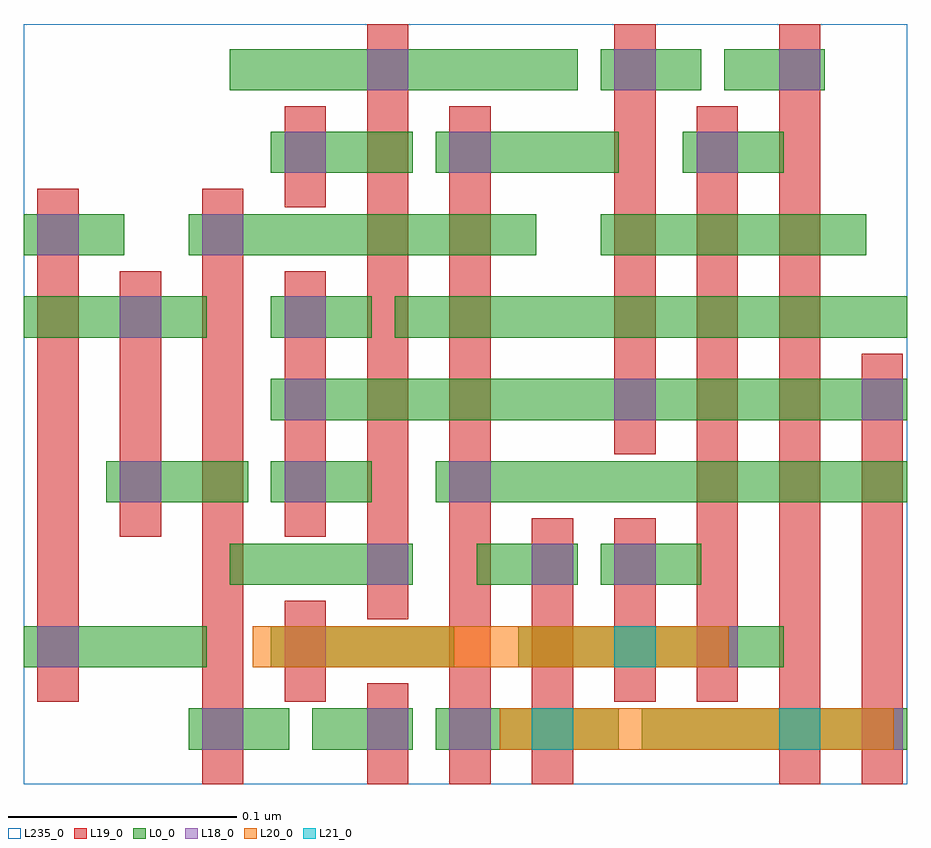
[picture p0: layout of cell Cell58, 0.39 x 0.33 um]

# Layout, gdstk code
import gdstk
lib = gdstk.Library(unit=1e-6, precision=2.5e-10)
def R(c, l, rs):  # rectangles x0, y0, x1, y1
    for r in rs: c.add(gdstk.rectangle(r[:2], r[2:], *l))
def A(c, l, x, y, w, h, nx, ny, dx, dy):  # array of equal rectangles
    R(c, l, [(x+i*dx, y+j*dy, x+i*dx+w, y+j*dy+h) for i in range(nx) for j in range(ny)])
L0_0 = (0, 0)
L18_0 = (18, 0)
L19_0 = (19, 0)
L20_0 = (20, 0)
L21_0 = (21, 0)
L235_0 = (235, 0)

cell58 = lib.new_cell('Cell58')
R(cell58, L0_0, [(0.076,-0.001,0.12,0.017), (0.13,-0.001,0.174,0.017), (0.184,-0.001,0.264,0.017), (0.274,-0.001,0.39,0.017), (0.004,0.035,0.084,0.053), (0.112,0.035,0.192,0.053), (0.22,0.035,0.336,0.053), (0.094,0.071,0.174,0.089), (0.202,0.071,0.246,0.089), (0.256,0.071,0.3,0.089), (0.04,0.107,0.102,0.125), (0.112,0.107,0.156,0.125), (0.184,0.107,0.39,0.125), (0.112,0.143,0.39,0.161), (0.004,0.179,0.084,0.197), (0.112,0.179,0.156,0.197), (0.166,0.179,0.39,0.197), (0.004,0.215,0.048,0.233), (0.076,0.215,0.228,0.233), (0.256,0.215,0.372,0.233), (0.112,0.251,0.174,0.269), (0.184,0.251,0.264,0.269), (0.292,0.251,0.336,0.269), (0.094,0.287,0.246,0.305), (0.256,0.287,0.3,0.305), (0.31,0.287,0.354,0.305)])
A(cell58, L18_0, 0.046, 0.107, 0.018, 0.018, 3, 1, 0.072, 0)
R(cell58, L18_0, [(0.082,-0.001,0.1,0.017), (0.154,-0.001,0.172,0.017), (0.19,-0.001,0.208,0.017), (0.37,-0.001,0.388,0.017), (0.01,0.035,0.028,0.053), (0.118,0.035,0.136,0.053), (0.298,0.035,0.316,0.053), (0.154,0.071,0.172,0.089), (0.226,0.071,0.244,0.089), (0.262,0.071,0.28,0.089), (0.118,0.143,0.136,0.161), (0.262,0.143,0.28,0.161), (0.37,0.143,0.388,0.161), (0.046,0.179,0.064,0.197), (0.118,0.179,0.136,0.197), (0.01,0.215,0.028,0.233), (0.082,0.215,0.1,0.233), (0.118,0.251,0.136,0.269), (0.19,0.251,0.208,0.269), (0.298,0.251,0.316,0.269), (0.154,0.287,0.172,0.305), (0.262,0.287,0.28,0.305), (0.334,0.287,0.352,0.305)])
R(cell58, L19_0, [(0.082,-0.016,0.1,0.244), (0.154,-0.016,0.172,0.028), (0.19,-0.016,0.208,0.28), (0.226,-0.016,0.244,0.1), (0.334,-0.016,0.352,0.316), (0.37,-0.016,0.388,0.172), (0.01,0.02,0.028,0.244), (0.118,0.02,0.136,0.064), (0.262,0.02,0.28,0.1), (0.298,0.02,0.316,0.28), (0.154,0.056,0.172,0.316), (0.046,0.092,0.064,0.208), (0.118,0.092,0.136,0.208), (0.262,0.128,0.28,0.316), (0.118,0.236,0.136,0.28)])
R(cell58, L20_0, [(0.212,-0.001,0.384,0.017), (0.104,0.035,0.312,0.053)])
R(cell58, L21_0, [(0.226,-0.001,0.244,0.017), (0.334,-0.001,0.352,0.017), (0.262,0.035,0.28,0.053)])
R(cell58, L235_0, [(0.004,-0.016,0.39,0.316)])

lib.write_gds('Cell58.gds')
